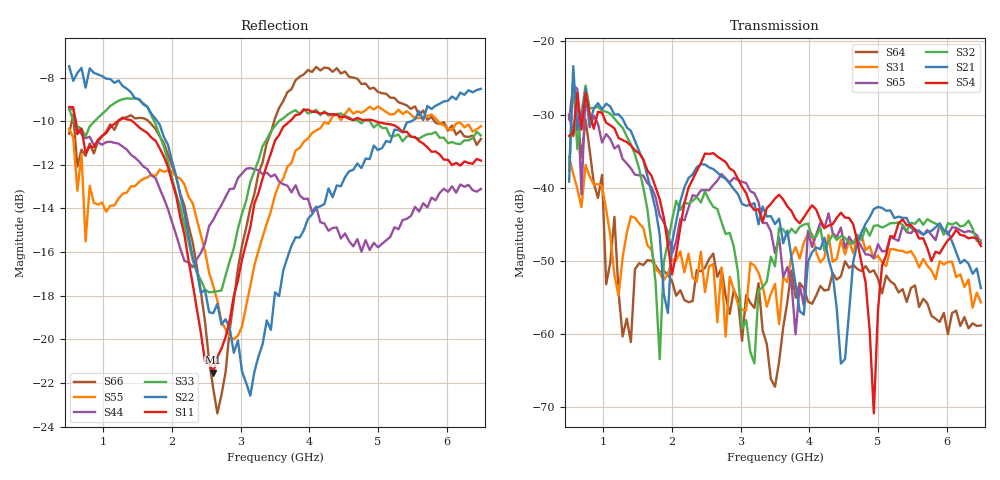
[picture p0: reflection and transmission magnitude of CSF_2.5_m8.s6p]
!Keysight Technologies,M9804A,MY58100912,A.14.10.03
!Date: Thursday, April 27, 2023 10:28:33
!Correction: S11(C  6-Port  )
!S12(C  6-Port  )
!S13(C  6-Port  )
!S14(C  6-Port  )
!S15(C  6-Port  )
!S16(C  6-Port  )
!S21(C  6-Port  )
!S22(C  6-Port  )
!S23(C  6-Port  )
!S24(C  6-Port  )
!S25(C  6-Port  )
!S26(C  6-Port  )
!S31(C  6-Port  )
!S32(C  6-Port  )
!S33(C  6-Port  )
!S34(C  6-Port  )
!S35(C  6-Port  )
!S36(C  6-Port  )
!S41(C  6-Port  )
!S42(C  6-Port  )
!S43(C  6-Port  )
!S44(C  6-Port  )
!S45(C  6-Port  )
!S46(C  6-Port  )
!S51(C  6-Port  )
!S52(C  6-Port  )
!S53(C  6-Port  )
!S54(C  6-Port  )
!S55(C  6-Port  )
!S56(C  6-Port  )
!S61(C  6-Port  )
!S62(C  6-Port  )
!S63(C  6-Port  )
!S64(C  6-Port  )
!S65(C  6-Port  )
!S66(C  6-Port  )
!S6P File: Measurement: :
# Hz S  RI  R 50
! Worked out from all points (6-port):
!   101 points, 500 MHz to 6.5 GHz, reference 50 ohm
!   strongest paths, dB at 500 MHz, 2 GHz, 3.5 GHz, 5 GHz, 6.5 GHz:
!     S54: -32.9, -51.9, -41.5, -56.9, -48.0
!     S21: -39.2, -47.5, -45.0, -42.6, -53.7
!     S32: -37.6, -44.5, -50.8, -45.2, -47.2
!     S65: -30.7, -49.1, -49.0, -47.7, -47.6
!     S31: -35.8, -49.9, -53.2, -49.3, -55.7
!     S64: -30.0, -52.8, -67.2, -52.4, -58.8
!   lowest |S11| = -21.5 dB at 2.6 GHz (marker M1), VSWR 1.18, Z = 42.5 + j2.04 ohm
!   |S11| at or under -10 dB: 591 MHz to 1.209 GHz (618.5 MHz wide, 68.7 % of centre); 1.419 GHz to 3.717 GHz (2.298 GHz wide, 89.5 % of centre); 4.963 GHz to end of sweep
